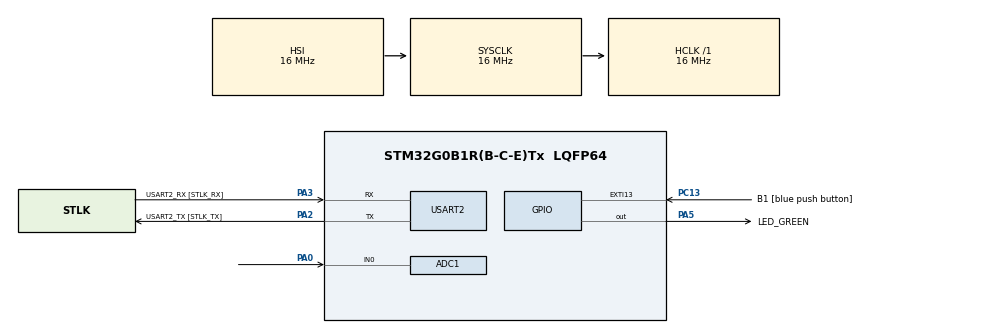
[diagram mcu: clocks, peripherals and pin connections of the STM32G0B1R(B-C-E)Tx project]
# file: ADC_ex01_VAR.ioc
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ADC1.Channel-0\#ChannelRegularConversion=ADC_CHANNEL_0
ADC1.ContinuousConvMode=ENABLE
ADC1.NbrOfConversionFlag=1
ADC1.Rank-0\#ChannelRegularConversion=1
ADC1.SamplingTime-0\#ChannelRegularConversion=ADC_SAMPLINGTIME_COMMON_1
ADC1.SamplingTimeCommon1=ADC_SAMPLETIME_19CYCLES_5
ADC1.SamplingTimeCommon2=ADC_SAMPLETIME_19CYCLES_5
ADC1.SelectedChannel=ADC_CHANNEL_0
ADC1.master=1
Mcu.Family=STM32G0
Mcu.Name=STM32G0B1R(B-C-E)Tx
Mcu.Package=LQFP64
PA0.Mode=IN0
PA0.Signal=ADC1_IN0
PA13.GPIO_Label=TMS
PA13.Mode=Serial_Wire
PA13.Signal=SYS_SWDIO
PA14-BOOT0.GPIO_Label=TCK
PA14-BOOT0.Mode=Serial_Wire
PA14-BOOT0.Signal=SYS_SWCLK
PA2.GPIO_Label=USART2_TX [STLK_TX]
PA2.Mode=Asynchronous
PA2.Signal=USART2_TX
PA3.GPIO_Label=USART2_RX [STLK_RX]
PA3.Mode=Asynchronous
PA3.Signal=USART2_RX
PA5.GPIO_Label=LED_GREEN
PA5.GPIO_Speed=GPIO_SPEED_FREQ_HIGH
PA5.Signal=GPIO_Output
PC13.GPIO_Label=B1 [blue push button]
PC13.Signal=GPXTI13
PC14-OSC32_IN\ (PC14).Mode=LSE-External-Oscillator
PC14-OSC32_IN\ (PC14).Signal=RCC_OSC32_IN
PC15-OSC32_OUT\ (PC15).Mode=LSE-External-Oscillator
PC15-OSC32_OUT\ (PC15).Signal=RCC_OSC32_OUT
PF0-OSC_IN\ (PF0).GPIO_Label=MCO
PF0-OSC_IN\ (PF0).Mode=HSE-External-Clock-Source
PF0-OSC_IN\ (PF0).Signal=RCC_OSC_IN
ProjectManager.HeapSize=0x200
ProjectManager.StackSize=0x400
ProjectManager.TargetToolchain=STM32CubeIDE
RCC.AHBFreq_Value=16000000
RCC.CortexFreq_Value=16000000
RCC.EXTERNAL_CLOCK_VALUE=12288000
RCC.HCLKFreq_Value=16000000
RCC.HSE_VALUE=8000000
RCC.HSI48_VALUE=48000000
RCC.HSI_VALUE=16000000
RCC.SYSCLKFreq_VALUE=16000000
RCC.USBFreq_Value=48000000
RCC.VCOOutputFreq_Value=128000000
USART2.VirtualMode-Asynchronous=VM_ASYNC
VP_SYS_VS_DBSignals.Mode=DisableDeadBatterySignals
board=NUCLEO-G0B1RE

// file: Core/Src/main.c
/* USER CODE BEGIN Header */
/**
  ******************************************************************************
  * @file           : main.c
  * @brief          : Main program body
  ******************************************************************************
  * @attention
  *
  * Copyright (c) 2026 STMicroelectronics.
  * All rights reserved.
  *
  * This software is licensed under terms that can be found in the LICENSE file
  * in the root directory of this software component.
  * If no LICENSE file comes with this software, it is provided AS-IS.
  *
  ******************************************************************************
  */
/* USER CODE END Header */
#include "main.h"

ADC_HandleTypeDef hadc1;

UART_HandleTypeDef huart2;

void SystemClock_Config(void);
static void MX_GPIO_Init(void);
static void MX_USART2_UART_Init(void);
static void MX_ADC1_Init(void);

/* USER CODE BEGIN 0 */
int __io_putchar (int ch){
	HAL_UART_Transmit(&huart2, (uint8_t*)&ch, 1, HAL_MAX_DELAY);
	return ch;
}
int _write(int file, char *ptr, int len){
	HAL_UART_Transmit(&huart2, (uint8_t*)ptr, len, HAL_MAX_DELAY);
	return len;
}

/* USER CODE END 0 */

int main(void)
{

  /* MCU Configuration--------------------------------------------------------*/

  /* Reset of all peripherals, Initializes the Flash interface and the Systick. */
  HAL_Init();

  /* Configure the system clock */
  SystemClock_Config();

  /* Initialize all configured peripherals */
  MX_GPIO_Init();
  MX_USART2_UART_Init();
  MX_ADC1_Init();
  /* USER CODE BEGIN 2 */
  char msg[64];
  uint32_t adc_value;

  /* USER CODE END 2 */

  /* Infinite loop */
  /* USER CODE BEGIN WHILE */
  while (1)
  {
	  HAL_ADC_Start(&hadc1);
	  HAL_ADC_PollForConversion(&hadc1, HAL_MAX_DELAY);
	  adc_value = HAL_ADC_GetValue(&hadc1);

	  float voltage = (adc_value / 4095.0f) * 3.3f;
	  int volt_int = (int)voltage;
	  int volt_frac = (int)((voltage - volt_int) * 100);
	  sprintf(msg, "ADC: %lu, Voltage: %d.%02dV\r\n", adc_value, volt_int, volt_frac);
	  HAL_UART_Transmit(&huart2, (uint8_t*)msg, strlen(msg), HAL_MAX_DELAY);
	  HAL_ADC_Stop(&hadc1);
	  HAL_Delay(500);
    /* USER CODE END WHILE */

  }
}

void SystemClock_Config(void)
{
  RCC_OscInitTypeDef RCC_OscInitStruct = {0};
  RCC_ClkInitTypeDef RCC_ClkInitStruct = {0};

  /** Configure the main internal regulator output voltage
  */
  HAL_PWREx_ControlVoltageScaling(PWR_REGULATOR_VOLTAGE_SCALE1);

  /** Initializes the RCC Oscillators according to the specified parameters
  * in the RCC_OscInitTypeDef structure.
  */
  RCC_OscInitStruct.OscillatorType = RCC_OSCILLATORTYPE_HSI;
  RCC_OscInitStruct.HSIState = RCC_HSI_ON;
  RCC_OscInitStruct.HSIDiv = RCC_HSI_DIV1;
  RCC_OscInitStruct.HSICalibrationValue = RCC_HSICALIBRATION_DEFAULT;
  RCC_OscInitStruct.PLL.PLLState = RCC_PLL_NONE;
  if (HAL_RCC_OscConfig(&RCC_OscInitStruct) != HAL_OK)
  {
    Error_Handler();
  }

  /** Initializes the CPU, AHB and APB buses clocks
  */
  RCC_ClkInitStruct.ClockType = RCC_CLOCKTYPE_HCLK|RCC_CLOCKTYPE_SYSCLK
                              |RCC_CLOCKTYPE_PCLK1;
  RCC_ClkInitStruct.SYSCLKSource = RCC_SYSCLKSOURCE_HSI;
  RCC_ClkInitStruct.AHBCLKDivider = RCC_SYSCLK_DIV1;
  RCC_ClkInitStruct.APB1CLKDivider = RCC_HCLK_DIV1;

  if (HAL_RCC_ClockConfig(&RCC_ClkInitStruct, FLASH_LATENCY_0) != HAL_OK)
  {
    Error_Handler();
  }
}

static void MX_ADC1_Init(void)
{

  ADC_ChannelConfTypeDef sConfig = {0};

  /** Configure the global features of the ADC (Clock, Resolution, Data Alignment and number of conversion)
  */
  hadc1.Instance = ADC1;
  hadc1.Init.ClockPrescaler = ADC_CLOCK_SYNC_PCLK_DIV2;
  hadc1.Init.Resolution = ADC_RESOLUTION_12B;
  hadc1.Init.DataAlign = ADC_DATAALIGN_RIGHT;
  hadc1.Init.ScanConvMode = ADC_SCAN_DISABLE;
  hadc1.Init.EOCSelection = ADC_EOC_SINGLE_CONV;
  hadc1.Init.LowPowerAutoWait = DISABLE;
  hadc1.Init.LowPowerAutoPowerOff = DISABLE;
  hadc1.Init.ContinuousConvMode = ENABLE;
  hadc1.Init.NbrOfConversion = 1;
  hadc1.Init.ExternalTrigConv = ADC_SOFTWARE_START;
  hadc1.Init.ExternalTrigConvEdge = ADC_EXTERNALTRIGCONVEDGE_NONE;
  hadc1.Init.DMAContinuousRequests = DISABLE;
  hadc1.Init.Overrun = ADC_OVR_DATA_PRESERVED;
  hadc1.Init.SamplingTimeCommon1 = ADC_SAMPLETIME_19CYCLES_5;
  hadc1.Init.SamplingTimeCommon2 = ADC_SAMPLETIME_19CYCLES_5;
  hadc1.Init.OversamplingMode = DISABLE;
  hadc1.Init.TriggerFrequencyMode = ADC_TRIGGER_FREQ_HIGH;
  if (HAL_ADC_Init(&hadc1) != HAL_OK)
  {
    Error_Handler();
  }

  /** Configure Regular Channel
  */
  sConfig.Channel = ADC_CHANNEL_0;
  sConfig.Rank = ADC_REGULAR_RANK_1;
  sConfig.SamplingTime = ADC_SAMPLINGTIME_COMMON_1;
  if (HAL_ADC_ConfigChannel(&hadc1, &sConfig) != HAL_OK)
  {
    Error_Handler();
  }

}

static void MX_USART2_UART_Init(void)
{

  huart2.Instance = USART2;
  huart2.Init.BaudRate = 115200;
  huart2.Init.WordLength = UART_WORDLENGTH_8B;
  huart2.Init.StopBits = UART_STOPBITS_1;
  huart2.Init.Parity = UART_PARITY_NONE;
  huart2.Init.Mode = UART_MODE_TX_RX;
  huart2.Init.HwFlowCtl = UART_HWCONTROL_NONE;
  huart2.Init.OverSampling = UART_OVERSAMPLING_16;
  huart2.Init.OneBitSampling = UART_ONE_BIT_SAMPLE_DISABLE;
  huart2.Init.ClockPrescaler = UART_PRESCALER_DIV1;
  huart2.AdvancedInit.AdvFeatureInit = UART_ADVFEATURE_NO_INIT;
  if (HAL_UART_Init(&huart2) != HAL_OK)
  {
    Error_Handler();
  }
  if (HAL_UARTEx_SetTxFifoThreshold(&huart2, UART_TXFIFO_THRESHOLD_1_8) != HAL_OK)
  {
    Error_Handler();
  }
  if (HAL_UARTEx_SetRxFifoThreshold(&huart2, UART_RXFIFO_THRESHOLD_1_8) != HAL_OK)
  {
    Error_Handler();
  }
  if (HAL_UARTEx_DisableFifoMode(&huart2) != HAL_OK)
  {
    Error_Handler();
  }

}

static void MX_GPIO_Init(void)
{
  GPIO_InitTypeDef GPIO_InitStruct = {0};

  /* GPIO Ports Clock Enable */
  __HAL_RCC_GPIOC_CLK_ENABLE();
  __HAL_RCC_GPIOF_CLK_ENABLE();
  __HAL_RCC_GPIOA_CLK_ENABLE();

  /*Configure GPIO pin Output Level */
  HAL_GPIO_WritePin(LED_GREEN_GPIO_Port, LED_GREEN_Pin, GPIO_PIN_RESET);

  /*Configure GPIO pin : B1_Pin */
  GPIO_InitStruct.Pin = B1_Pin;
  GPIO_InitStruct.Mode = GPIO_MODE_IT_RISING;
  GPIO_InitStruct.Pull = GPIO_NOPULL;
  HAL_GPIO_Init(B1_GPIO_Port, &GPIO_InitStruct);

  /*Configure GPIO pin : LED_GREEN_Pin */
  GPIO_InitStruct.Pin = LED_GREEN_Pin;
  GPIO_InitStruct.Mode = GPIO_MODE_OUTPUT_PP;
  GPIO_InitStruct.Pull = GPIO_NOPULL;
  GPIO_InitStruct.Speed = GPIO_SPEED_FREQ_HIGH;
  HAL_GPIO_Init(LED_GREEN_GPIO_Port, &GPIO_InitStruct);

}

void Error_Handler(void)
{
  __disable_irq();
  while (1)
  {
  }
}
